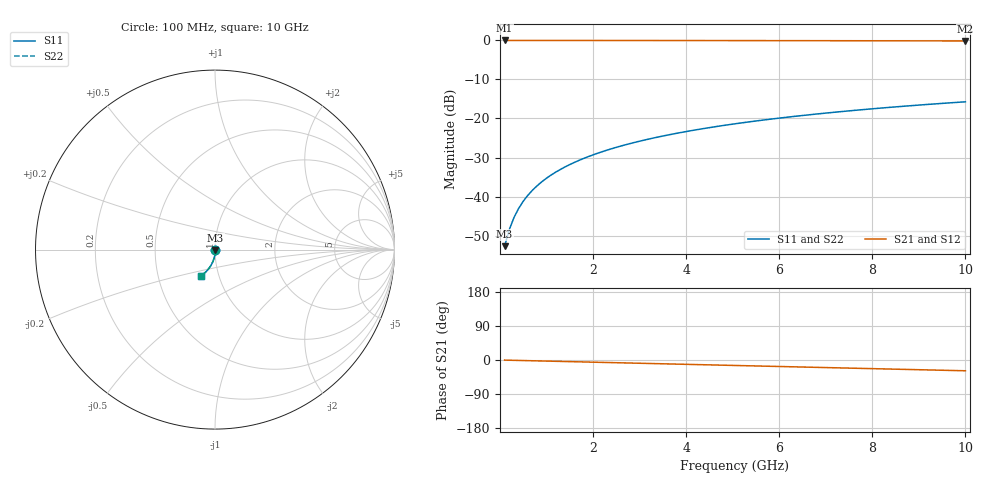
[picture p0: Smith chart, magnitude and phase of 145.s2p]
# Hz S RI R 50.00
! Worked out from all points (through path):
!   100 points, 100 MHz to 10 GHz, reference 50 ohm
!   highest |S21| = -0.01 dB at 100 MHz (marker M1); lowest = -0.1 dB at 10 GHz (marker M2)
!   group delay of S21, straight-line fit = 7.91 ps
!   lowest |S11| = -52.7 dB at 100 MHz (marker M3), VSWR 1.00, Z = 50.2 - j0.172 ohm
!   |S11| at or under -10 dB: start of sweep to end of sweep
!   |S22| runs from -52.7 to -15.7 dB; largest |S21 - S12| = 0
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1e8  0.00155 -0.00172  0.9984 -0.00498  0.9984 -0.00498  0.00155 -0.00172
2e8  0.00153 -0.00344  0.9984 -0.00997  0.9984 -0.00997  0.00153 -0.00344
3e8  0.0015 -0.00516  0.9983 -0.015  0.9983 -0.015  0.0015 -0.00516
4e8  0.00144 -0.00688  0.9982 -0.0199  0.9982 -0.0199  0.00144 -0.00688
5e8  0.00136 -0.00859  0.998 -0.0249  0.998 -0.0249  0.00136 -0.00859
6e8  0.00127 -0.0103  0.9979 -0.0299  0.9979 -0.0299  0.00127 -0.0103
7e8  0.00116 -0.012  0.9977 -0.0349  0.9977 -0.0349  0.00116 -0.012
8e8  0.00103 -0.0137  0.9975 -0.0399  0.9975 -0.0399  0.00103 -0.0137
9e8  0.00089 -0.0155  0.9972 -0.0448  0.9972 -0.0448  0.00089 -0.0155
1.1e9  0.000548 -0.0189  0.9967 -0.0548  0.9967 -0.0548  0.000548 -0.0189
1.4e9  -9.3e-05 -0.024  0.9956 -0.0697  0.9956 -0.0697  -9.3e-05 -0.024
1.8e9  -0.00119 -0.0308  0.9938 -0.0895  0.9938 -0.0895  -0.00119 -0.0308
2.1e9  -0.00218 -0.0358  0.9922 -0.1044  0.9922 -0.1044  -0.00218 -0.0358
2.5e9  -0.00375 -0.0425  0.9896 -0.1241  0.9896 -0.1241  -0.00375 -0.0425
2.9e9  -0.00558 -0.0492  0.9866 -0.1438  0.9866 -0.1438  -0.00558 -0.0492
3.4e9  -0.00824 -0.0573  0.9822 -0.1683  0.9822 -0.1683  -0.00824 -0.0573
4.2e9  -0.0133 -0.0701  0.9738 -0.2071  0.9738 -0.2071  -0.0133 -0.0701
5.1e9  -0.0202 -0.0839  0.9624 -0.2502  0.9624 -0.2502  -0.0202 -0.0839
5.9e9  -0.0274 -0.0956  0.9505 -0.2878  0.9505 -0.2878  -0.0274 -0.0956
6.7e9  -0.0354 -0.1067  0.9369 -0.3248  0.9369 -0.3248  -0.0354 -0.1067
8.4e9  -0.0551 -0.1279  0.9032 -0.4009  0.9032 -0.4009  -0.0551 -0.1279
1e10  -0.0766 -0.1445  0.8655 -0.4688  0.8655 -0.4688  -0.0766 -0.1445
